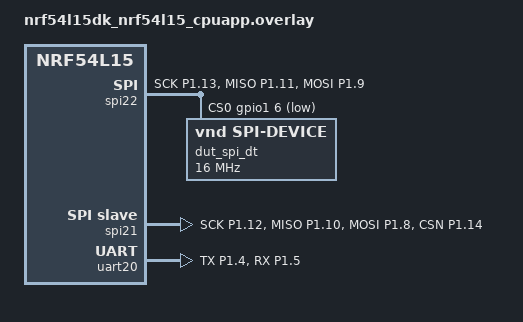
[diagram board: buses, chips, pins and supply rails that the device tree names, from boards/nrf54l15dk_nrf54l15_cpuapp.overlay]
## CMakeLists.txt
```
# SPDX-License-Identifier: Apache-2.0

cmake_minimum_required(VERSION 3.20.0)

list(APPEND TOOLCHAIN_C_FLAGS
	-include ${APPLICATION_SOURCE_DIR}/src/rtc.h
	    )

find_package(Zephyr REQUIRED HINTS $ENV{ZEPHYR_BASE})
project(spi_controller_peripheral)

FILE(GLOB app_sources src/*.c)

target_sources(app PRIVATE ${app_sources})
```

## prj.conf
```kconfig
CONFIG_PPI_SEQ=y
CONFIG_PPI_SEQ_SPIM=y
CONFIG_NRFX_SPIS=y
CONFIG_ZTEST=y

#CONFIG_TEST_LOGGING_DEFAULTS=n
CONFIG_LOG=y
CONFIG_LOG_BUFFER_SIZE=16384

CONFIG_PPI_TRACE=y
```

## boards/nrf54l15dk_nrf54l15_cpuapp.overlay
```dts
/*
 * Copyright (c) 2024 Nordic Semiconductor
 *
 * SPDX-License-Identifier: Apache-2.0
 */

&pinctrl {
	uart20_alt_default: uart20_alt_default {
		group1 {
			psels = <NRF_PSEL(UART_TX, 1, 4)>;
		};

		group2 {
			psels = <NRF_PSEL(UART_RX, 1, 5)>;
			bias-pull-up;
		};
	};

	uart20_alt_sleep: uart20_alt_sleep {
		group1 {
			psels = <NRF_PSEL(UART_TX, 1, 4)>,
				<NRF_PSEL(UART_RX, 1, 5)>;
			low-power-enable;
		};
	};

	spi22_default_alt: spi22_default_alt {
		group1 {
			psels = <NRF_PSEL(SPIM_SCK, 1, 13)>,
				<NRF_PSEL(SPIM_MISO, 1, 11)>,
				<NRF_PSEL(SPIM_MOSI, 1, 9)>;
		};
	};

	spi22_sleep_alt: spi22_sleep_alt {
		group1 {
			psels = <NRF_PSEL(SPIM_SCK, 1, 13)>,
				<NRF_PSEL(SPIM_MISO, 1, 11)>,
				<NRF_PSEL(SPIM_MOSI, 1, 9)>;
			low-power-enable;
		};
	};

	spi21_default_alt: spi21_default_alt {
		group1 {
			psels = <NRF_PSEL(SPIS_SCK, 1, 12)>,
				<NRF_PSEL(SPIS_MISO, 1, 10)>,
				<NRF_PSEL(SPIS_MOSI, 1, 8)>,
				<NRF_PSEL(SPIS_CSN, 1, 14)>;
		};
	};

	spi21_sleep_alt: spi21_sleep_alt {
		group1 {
			psels = <NRF_PSEL(SPIS_SCK, 1, 12)>,
				<NRF_PSEL(SPIS_MISO, 1, 10)>,
				<NRF_PSEL(SPIS_MOSI, 1, 8)>,
				<NRF_PSEL(SPIS_CSN, 1, 14)>;
			low-power-enable;
		};
	};
};

dut_cnt_timer: &timer21 {
	status = "reserved";
};

dut_trig_timer: &timer22 {
	status = "reserved";
};

test_timer: &timer23 {
	status = "reserved";
};

dut_spi: &spi22 {
	status = "okay";
	pinctrl-0 = <&spi22_default_alt>;
	pinctrl-1 = <&spi22_sleep_alt>;
	pinctrl-names = "default", "sleep";
	overrun-character = <0x00>;
	cs-gpios = <&gpio1 6 GPIO_ACTIVE_LOW>;
	zephyr,pm-device-runtime-auto;

	dut_spi_dt: test-spi-dev@0 {
		compatible = "vnd,spi-device";
		reg = <0>;
		spi-max-frequency = <DT_FREQ_M(16)>;
	};
};

dut_spis: &spi21 {
	compatible = "nordic,nrf-spis";
	status = "okay";
	def-char = <0x00>;
	pinctrl-0 = <&spi21_default_alt>;
	pinctrl-1 = <&spi21_sleep_alt>;
	pinctrl-names = "default", "sleep";
	/delete-property/ rx-delay-supported;
	/delete-property/ rx-delay;
	zephyr,pm-device-runtime-auto;
};

&uart20 {
	pinctrl-0 = <&uart20_alt_default>;
	pinctrl-1 = <&uart20_alt_sleep>;
};
```

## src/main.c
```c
/*
 * Copyright (c) 2025 Nordic Semiconductor ASA
 *
 * SPDX-License-Identifier: LicenseRef-Nordic-5-Clause
 */

#include <errno.h>
#include <string.h>
#include <zephyr/kernel.h>
#include <zephyr/ztest.h>
#include <debug/cpu_load.h>
#include <ppi_seq/ppi_seq.h>
#include <ppi_seq/ppi_seq_i2c_spi.h>
#include <zephyr/drivers/pinctrl.h>
#include <nrfx_spim.h>
#include <nrfx_spis.h>
#include <nrfx_timer.h>
#include <nrfx_grtc.h>
#include <nrfx_gpiote.h>
#include <hal/nrf_gpio.h>
#include <debug/ppi_trace.h>
#include <zephyr/logging/log.h>
#include <zephyr/drivers/gpio/gpio_nrf.h>
LOG_MODULE_REGISTER(test);

#define SPIM_NODE DT_NODELABEL(dut_spi)
#define SPIS_NODE DT_NODELABEL(dut_spis)
#define TIMER_NODE DT_NODELABEL(test_timer)

#define XFER_LEN 8
#define XFER_CNT 16
#define SEQ_PERIOD 250
#define SEQ_PERIOD_RTC 306
#define SEQ_OFFSET 62

enum test_ppi_seq_mode {
	TEST_MODE_RTC,
	TEST_MODE_TIMER,
	TEST_MODE_GRTC_TIMER,
	TEST_MODE_GRTC,
};

enum test_ppi_seq_op {
	TEST_OP_SINGLE_HW_SS,
	TEST_OP_SINGLE_GPIOTE_SS,
	TEST_OP_DOUBLE,
};

struct spis_test_data {
	nrfx_spis_t spis;
	nrfx_timer_t test_timer;
	nrfx_gppi_handle_t gppi_handle;
	uint32_t cb_cnt;
	uint32_t rx_cnt;
	uint32_t tx_cnt;
	uint32_t exp_len;
	volatile bool stop;
	bool err;
	uint8_t rx_buf[XFER_LEN];
	uint8_t tx_buf[XFER_LEN];
	uint32_t last_timestamp;
	uint32_t timestamp_idx;
	uint32_t timestamp_max;
	uint32_t delta;
	uint32_t max_delta;
	uint32_t exp_diff[2];
};

struct spim_test_data {
	nrfx_spim_t spim;
	struct ppi_seq_i2c_spi seq;
	nrfx_gpiote_t *gpiote;
	uint8_t gpiote_task_ch;
	uint32_t ss_pin;
	uint32_t ss_task;

	uint8_t tx_buf0[XFER_CNT][XFER_LEN];
	uint8_t rx_buf0[XFER_CNT][XFER_LEN];

	uint8_t tx_buf1[XFER_CNT][XFER_LEN];
	uint8_t rx_buf1[XFER_CNT][XFER_LEN];

	uint32_t exp_len;
	uint32_t cb_cnt;
	uint32_t tx_cnt;
	uint32_t rx_cnt;
	uint32_t rpt;
	bool stop_immediate;
	volatile bool stop;
	uint32_t t_cb;
	bool err;
	struct k_sem end_sem;
};

static struct spis_test_data spis_data;
static struct spim_test_data spim_data;

static NRF_TIMER_Type *timer = (NRF_TIMER_Type *)DT_REG_ADDR(DT_NODELABEL(dut_trig_timer));

static void prepare_buf(uint8_t *buf, size_t cnt, uint32_t init_val)
{
	for (int i = 0; i < cnt; i++) {
		buf[i] = (uint8_t)(init_val + i);
	}
}

static bool check_buf(uint8_t *buf, size_t cnt, uint8_t exp_val, int line)
{
	for (size_t i = 0; i < cnt; i++) {
		if (buf[i] != exp_val) {
			if (buf[i] != exp_val) {
				NRF_P2->OUTSET=BIT(10);
				k_busy_wait(1);
				NRF_P2->OUTCLR=BIT(10);
			}

			zassert_equal(buf[i], exp_val,
				"%d: Unexpected buffer content at %d, exp:%02x got:%02x",
				line, i, exp_val, buf[i]);
			return false;
		}
		exp_val++;
	}

	return true;
}

static void next_spis(void)
{
	int rv;

	prepare_buf(spis_data.tx_buf, spis_data.exp_len, spis_data.tx_cnt);
	spis_data.tx_cnt += spis_data.exp_len;

	rv = nrfx_spis_buffers_set(&spis_data.spis, spis_data.tx_buf, spis_data.exp_len,
				   spis_data.rx_buf, spis_data.exp_len);
	zassert_ok(rv, "Unexpected error:%d", rv);
}

static void spis_check_time(void)
{
	uint32_t capt = nrfx_timer_capture_get(&spis_data.test_timer, NRF_TIMER_CC_CHANNEL0);

	if (spis_data.cb_cnt > 4) {
		uint32_t distance = capt - spis_data.last_timestamp;
		int delta = spis_data.exp_diff[spis_data.timestamp_idx] - distance;

		delta = delta < 0 ? -delta : delta;
		if (delta > spis_data.delta) {
			NRF_P2->OUTSET=BIT(10);
			k_busy_wait(1);
			NRF_P2->OUTCLR=BIT(10);
			if (spis_data.cb_cnt == 9) printk("A\n");
		}

		spis_data.max_delta = MAX(delta, spis_data.max_delta);
		zassert_true(delta <= spis_data.delta,
				"Unexpected timing for the SPIS event: "
				"%d us after last (expected:%d, delta:%d) rx_cnt:%d last_t:%d",
				distance, spis_data.exp_diff[spis_data.timestamp_idx],
				spis_data.delta, spis_data.rx_cnt, spis_data.last_timestamp);
	}

	spis_data.timestamp_idx++;
	if (spis_data.timestamp_idx == spis_data.timestamp_max) {
		spis_data.timestamp_idx = 0;
	}
	spis_data.last_timestamp = capt;
}

static void spis_event_handler(nrfx_spis_event_t const *event, void *context)
{
	if ((event->evt_type == NRFX_SPIS_XFER_DONE) && (spis_data.stop == false)) {
		zassert_equal(spis_data.exp_len, event->rx_amount);
		zassert_equal(spis_data.exp_len, event->tx_amount);

		spis_check_time();

		NRF_P2->OUTSET=BIT(9);
		if (spis_data.err == false) {
			spis_data.err = check_buf(spis_data.rx_buf, spis_data.exp_len,
					spis_data.rx_cnt, __LINE__);
		}
		NRF_P2->OUTCLR=BIT(9);
		spis_data.rx_cnt += spis_data.exp_len;
		spis_data.cb_cnt++;
		next_spis();
	}
}

static void spim_event_handler(nrfx_spim_event_t const *event, void *context)
{
	TC_PRINT("Unexpected SPIM interrupt handler call.");
	zassert_false(true);
}

static void spim_init(bool use_hw_ss)
{
	int rv;
	nrfx_spim_config_t config;

	IRQ_CONNECT(DT_IRQN(SPIM_NODE), DT_IRQ_BY_IDX(SPIM_NODE, 0, priority),
			nrfx_spim_irq_handler, &spim_data.spim, 0);

	spim_data.spim.p_reg = (NRF_SPIM_Type *)DT_REG_ADDR(SPIM_NODE);

	PINCTRL_DT_DEFINE(SPIM_NODE);
	rv = pinctrl_apply_state(PINCTRL_DT_DEV_CONFIG_GET(SPIM_NODE), PINCTRL_STATE_DEFAULT);
	zassert_ok(rv, "Unexpected error:%d", rv);

	uint32_t pin = DT_GPIO_PIN(SPIM_NODE, cs_gpios);
	uint32_t port = DT_PROP(DT_GPIO_CTLR(SPIM_NODE, cs_gpios), port);
	uint32_t ss_pin = 32 * port + pin;

	/* CS configure. */
	if (use_hw_ss) {
		nrf_gpio_pin_set(ss_pin);
		nrf_gpio_cfg_output(ss_pin);
		nrf_spim_csn_configure(spim_data.spim.p_reg, ss_pin, NRF_SPIM_CSN_POL_LOW, 32);
		spim_data.ss_task = 0;
	} else {
		const struct device *cs_port = DEVICE_DT_GET(DT_GPIO_CTLR(SPIM_NODE, cs_gpios));
		nrfx_gpiote_t *gpiote = gpio_nrf_gpiote_by_port_get(cs_port);
		nrfx_gpiote_output_config_t out_config = {
			.drive = NRF_GPIO_PIN_S0S1,
			.input_connect = NRF_GPIO_PIN_INPUT_DISCONNECT,
			.pull = NRF_GPIO_PIN_NOPULL
		};
		nrfx_gpiote_task_config_t task_config = {
			.polarity = NRF_GPIOTE_POLARITY_TOGGLE,
			.init_val = NRF_GPIOTE_INITIAL_VALUE_HIGH
		};

		rv = nrfx_gpiote_channel_alloc(gpiote, &spim_data.gpiote_task_ch);
		zassert_ok(rv, "Unexpected error:%d", rv);

		task_config.task_ch = spim_data.gpiote_task_ch;

		rv = nrfx_gpiote_output_configure(gpiote, ss_pin, &out_config, &task_config);
		zassert_ok(rv, "Unexpected error:%d", rv);
		nrfx_gpiote_out_task_enable(gpiote, ss_pin);

		spim_data.ss_task = nrfx_gpiote_out_task_address_get(gpiote, ss_pin);
		spim_data.ss_pin = ss_pin;
		spim_data.gpiote = gpiote;
	}

	config.ss_pin = NRF_SPIM_PIN_NOT_CONNECTED;
	config.frequency = MHZ(8);
	config.mode = NRF_SPIM_MODE_0;
	config.use_hw_ss = use_hw_ss;
	config.rx_delay = 1;
	config.bit_order = NRF_SPIM_BIT_ORDER_MSB_FIRST;
	config.skip_gpio_cfg = true;
	config.skip_psel_cfg = true;

	rv = nrfx_spim_init(&spim_data.spim, &config, spim_event_handler, NULL);
	zassert_ok(rv, "Unexpected error:%d", rv);
}

static void test_timer_init(uint32_t event)
{
	nrfx_timer_config_t timer_config = {
		.frequency = MHZ(1),
		.mode = NRF_TIMER_MODE_TIMER,
		.bit_width = NRF_TIMER_BIT_WIDTH_32,
	};
	int rv;
	uint32_t task;

	spis_data.test_timer.p_reg = (NRF_TIMER_Type *)DT_REG_ADDR(TIMER_NODE);

	rv = nrfx_timer_init(&spis_data.test_timer, &timer_config, NULL);
	zassert_ok(rv);

	nrfx_timer_enable(&spis_data.test_timer);

	task = nrfx_timer_task_address_get(&spis_data.test_timer, NRF_TIMER_TASK_CAPTURE0);
	rv = nrfx_gppi_conn_alloc(event, task, &spis_data.gppi_handle);
	zassert_ok(rv);

	nrfx_gppi_conn_enable(spis_data.gppi_handle);
}

static void test_timer_uninit(uint32_t event)
{
	uint32_t task = nrfx_timer_task_address_get(&spis_data.test_timer, NRF_TIMER_TASK_CAPTURE0);

	nrfx_gppi_conn_disable(spis_data.gppi_handle);
	nrfx_gppi_conn_free(event, task, spis_data.gppi_handle);
	nrfx_timer_uninit(&spis_data.test_timer);
}

static void spis_init(void)
{
	int rv;
	nrfx_spis_config_t config = {
		.mode = NRF_SPIS_MODE_0,
		.bit_order = NRF_SPIS_BIT_ORDER_MSB_FIRST,
		.skip_gpio_cfg = true,
		.skip_psel_cfg = true,
	};
	uint32_t event;

	spis_data.spis.p_reg = (NRF_SPIS_Type *)DT_REG_ADDR(SPIS_NODE);

	PINCTRL_DT_DEFINE(SPIS_NODE);
	rv = pinctrl_apply_state(PINCTRL_DT_DEV_CONFIG_GET(SPIS_NODE), PINCTRL_STATE_DEFAULT);
	zassert_ok(rv, "Unexpected error:%d", rv);

	rv = nrfx_spis_init(&spis_data.spis, &config, spis_event_handler, NULL);
	zassert_ok(rv, "Unexpected error:%d", rv);

	IRQ_CONNECT(DT_IRQN(SPIS_NODE), DT_IRQ_BY_IDX(SPIS_NODE, 0, priority),
			nrfx_spis_irq_handler, &spis_data.spis, 0);

	event = nrf_spis_event_address_get(spis_data.spis.p_reg, NRF_SPIS_EVENT_RXSTARTED);
	test_timer_init(event);
}

static void spis_uninit(void)
{
	uint32_t event;

	nrfx_spis_uninit(&spis_data.spis);

	event = nrf_spis_event_address_get(spis_data.spis.p_reg, NRF_SPIS_EVENT_RXSTARTED);
	test_timer_uninit(event);
}

static void ppi_seq_spim_cb(struct ppi_seq_i2c_spi *seq, struct ppi_seq_i2c_spi_data *data,
		bool last)
{
	NRF_P2->OUTSET=BIT(8);
	uint32_t xfers_cnt = data->batch_cnt * (data->extra_xfers + 1);
	uint32_t batch_bytes = xfers_cnt * data->desc.spim.tx_length;

	spim_data.t_cb = k_cycle_get_32();
	spim_data.cb_cnt++;

	if (last) {
		k_sem_give(&spim_data.end_sem);
	}

	if (spim_data.rpt > 0) {
		spim_data.rpt--;
		if (spim_data.rpt == 0) {
			ppi_seq_i2c_spi_stop(seq, spim_data.stop_immediate);
		}
	}

	if (spim_data.stop == false) {
		if (spim_data.err == false) {
			spim_data.err = check_buf(data->desc.spim.p_rx_buffer, batch_bytes,
						spim_data.rx_cnt, __LINE__);
		}
		spim_data.rx_cnt += batch_bytes;
	}

	/* Fill data for the next buffer. */
	prepare_buf((uint8_t *)data->desc.spim.p_tx_buffer, batch_bytes, spim_data.tx_cnt);
	spim_data.tx_cnt += batch_bytes;
	NRF_P2->OUTCLR=BIT(8);
}

static void seq_spim_init(enum test_ppi_seq_mode mode, enum test_ppi_seq_op op,
			enum ppi_seq_notifier_type notifier_type, uint32_t xfer_len)
{
	static struct ppi_seq_extra_op ops[2];
	static struct ppi_seq_config config;
	static struct ppi_seq_notifier notifier;
	union ppi_seq_i2c_spi_dev dev;
	uint32_t task;
	int rv;

	spim_init(op != TEST_OP_SINGLE_GPIOTE_SS);
	IRQ_CONNECT(DT_IRQN(DT_NODELABEL(dut_cnt_timer)),
		    DT_IRQ_BY_IDX(DT_NODELABEL(dut_cnt_timer), 0, priority),
			nrfx_timer_irq_handler, &notifier.nrfx_timer.timer, 0);

	dev.spim = &spim_data.spim;
	task = nrfx_spim_start_task_address_get(&spim_data.spim);
	spis_data.exp_len = xfer_len;
	spis_data.last_timestamp = 0;

	spim_data.cb_cnt = 0;
	spim_data.tx_cnt = 0;
	spim_data.rx_cnt = 0;

	memset(&config, 0, sizeof(config));
	if (op == TEST_OP_SINGLE_GPIOTE_SS) {
		config.task = spim_data.ss_task;
		ops[0].task = task,
		ops[0].offset = 2;
		ops[1].task = spim_data.ss_task;
		ops[1].offset = 14;
		config.extra_ops = ops;
		config.extra_ops_count = 2;
	} else if (op == TEST_OP_DOUBLE) {
		ops[0].task = task;
		ops[0].offset = SEQ_OFFSET;
		config.task = task;
		config.extra_ops = ops;
		config.extra_ops_count = 1;
	} else {
		config.task = task;
		config.extra_ops = NULL;
		config.extra_ops_count = 0;
	}

	switch (mode) {
#ifdef RTC_PRESENT
	case TEST_MODE_RTC:
		config.rtc = NRF_RTC10;
		break;
#endif
	case TEST_MODE_TIMER:
		config.timer_reg = timer;
		break;
	case TEST_MODE_GRTC_TIMER:
		config.use_grtc = true;
		config.timer_reg = timer;
		break;
	case TEST_MODE_GRTC:
		config.use_grtc = true;
		break;
	default:
		zassert_false(true);
		break;
	}

	/* Initialize the notifier. */
	if (notifier_type == PPI_SEQ_NOTIFIER_SYS_TIMER) {
		notifier.type = PPI_SEQ_NOTIFIER_SYS_TIMER;
		notifier.sys_timer.offset = (1000000 * xfer_len) / (MHZ(8) / 8) + 10;
	} else {
		notifier.type = PPI_SEQ_NOTIFIER_NRFX_TIMER;
		notifier.nrfx_timer.timer.p_reg =
			(NRF_TIMER_Type *)DT_REG_ADDR(DT_NODELABEL(dut_cnt_timer));
		notifier.nrfx_timer.end_seq_event =
				nrfx_spim_end_event_address_get(&spim_data.spim);
		notifier.nrfx_timer.extra_main_ops = (op == TEST_OP_DOUBLE) ? 1 : 0;
	}
	config.notifier = &notifier;
	config.callback = ppi_seq_i2c_spi_internal_cb;

	k_sem_init(&spim_data.end_sem, 0, 1);

	rv = ppi_seq_i2c_spi_init(&spim_data.seq, &config, dev, true);
	zassert_ok(rv, "Unexpected error:%d", rv);

	static bool once;
	if (once == false && config.use_grtc) {
		int chan = nrfx_gppi_ep_channel_get((uint32_t)&NRF_GRTC->EVENTS_COMPARE[0]);
		LOG_INF("grtc channel %d", chan);
		int err = ppi_trace_dppi_ch_trace(4, chan, NRF_DPPIC20);
		if (err < 0) {
			LOG_ERR("ppi trace failed");
		}
		once = true;

		void *handle = ppi_trace_pair_config(2,
				(uint32_t)&NRF_POWER->EVENTS_SLEEPENTER,
				(uint32_t)&NRF_POWER->EVENTS_SLEEPEXIT);
		/*void *handle = ppi_trace_config(2, (uint32_t)&spis_data.spis.p_reg->EVENTS_END);*/
		ppi_trace_enable(handle);
	}
}

static void spis_prepare(enum test_ppi_seq_op op, enum test_ppi_seq_mode mode)
{
	uint32_t period = (mode == TEST_MODE_RTC) ? SEQ_PERIOD_RTC : SEQ_PERIOD;

	spis_data.cb_cnt = 0;
	spis_data.rx_cnt = 0;
	spis_data.tx_cnt = 0;
	spis_data.last_timestamp = 0;
	if (op == TEST_OP_DOUBLE) {
		spis_data.exp_diff[0] = period - SEQ_OFFSET;
		spis_data.exp_diff[1] = SEQ_OFFSET;
		spis_data.timestamp_max = 2;
	} else {
		spis_data.exp_diff[0] = period;
		spis_data.timestamp_max = 1;
	}

	switch (mode) {
	case TEST_MODE_TIMER:
		spis_data.delta = 10;
		break;
	case TEST_MODE_GRTC_TIMER:
		spis_data.delta = 4;
		break;
	case TEST_MODE_RTC:
		spis_data.delta = 8;
		break;
	default:
		spis_data.delta = 4;
		break;
	}

	next_spis();
}

static uint32_t single_run(struct ppi_seq_i2c_spi_job *job, uint32_t period, uint32_t timeout)
{
	int rv;
	uint32_t t;
	uint32_t prev_byte_cnt = spim_data.rx_cnt;
	uint32_t prev_cb_cnt = spim_data.cb_cnt;
	uint32_t prev_spis_cnt = spis_data.rx_cnt;
	uint32_t exp_bytes = XFER_CNT * XFER_LEN;

	t = k_cycle_get_32();
	rv = ppi_seq_i2c_spi_start(&spim_data.seq, period, job);
	zassert_ok(rv, "Unexpected error:%d", rv);

	rv = k_sem_take(&spim_data.end_sem, K_USEC(timeout));
	zassert_ok(rv, "Unexpected error:%d", rv);

	zassert_equal(spim_data.rx_cnt - prev_byte_cnt, exp_bytes,
		"Unexpected amount of bytes received: %d, exp:%d",
		spim_data.rx_cnt - prev_byte_cnt, exp_bytes);
	zassert_equal(spim_data.cb_cnt - prev_cb_cnt, 1);
	zassert_equal(spis_data.rx_cnt - prev_spis_cnt, exp_bytes);

	return spim_data.t_cb - t;
}

static void test_single_run(enum test_ppi_seq_mode mode, enum test_ppi_seq_op op,
			enum ppi_seq_notifier_type notifier)
{
	struct ppi_seq_i2c_spi_job job = {
		.desc = {
			.spim = {
				.p_tx_buffer = spim_data.tx_buf0[0],
				.tx_length = XFER_LEN,
				.p_rx_buffer = spim_data.rx_buf0[0],
				.rx_length = XFER_LEN,
			}
		},
		.batch_cnt = (op == TEST_OP_DOUBLE) ? XFER_CNT / 2 : XFER_CNT,
		.repeat = 1,
		.extra_xfers = (op == TEST_OP_DOUBLE) ? 1 : 0,
		.tx_postinc = true,
		.cb = ppi_seq_spim_cb
	};
	uint32_t t;
	uint32_t period = (mode == TEST_MODE_RTC) ? SEQ_PERIOD_RTC : SEQ_PERIOD;
	uint32_t exp_time = (job.batch_cnt - 1) * period + period / 2;

	seq_spim_init(mode, op, notifier, XFER_LEN);

	prepare_buf(spim_data.tx_buf0[0], XFER_LEN * XFER_CNT, spim_data.tx_cnt);
	spim_data.tx_cnt += XFER_LEN * XFER_CNT;

	spis_prepare(op, mode);

	t = single_run(&job, period, exp_time + 1000);

	if (notifier == PPI_SEQ_NOTIFIER_SYS_TIMER) {
		/* Due to 1 tick accuracy and processing of k_timer delay is increased. */
		exp_time += 50;
	}

	printk("t:%d exp_time:%d\n", t , exp_time);
	zassert_within(t, exp_time, period / 2,
			"Time %d us not within:%d with delta:%d",
			t, exp_time, period / 2);
}

static void test_multi_run(enum test_ppi_seq_mode mode, enum test_ppi_seq_op op,
			enum ppi_seq_notifier_type notifier)
{
	uint32_t rpt = 100;
	struct ppi_seq_i2c_spi_job job = {
		.desc = {
			.spim = {
				.p_tx_buffer = spim_data.tx_buf0[0],
				.tx_length = XFER_LEN,
				.p_rx_buffer = spim_data.rx_buf0[0],
				.rx_length = XFER_LEN,
			}
		},
		.tx_second_buf = spim_data.tx_buf1[0],
		.rx_second_buf = spim_data.rx_buf1[0],
		.batch_cnt = (op == TEST_OP_DOUBLE) ? XFER_CNT / 2 : XFER_CNT,
		.extra_xfers = (op == TEST_OP_DOUBLE) ? 1 : 0,
		.repeat = rpt,
		.tx_postinc = true,
		.cb = ppi_seq_spim_cb
	};
	uint32_t batch_len = job.batch_cnt * job.desc.spim.tx_length * (1 + job.extra_xfers);
	uint32_t period = (mode == TEST_MODE_RTC) ? SEQ_PERIOD_RTC : SEQ_PERIOD;
	uint32_t exp_time = (rpt * job.batch_cnt - 1) * period + period / 2;
	uint32_t t;
	int rv;
	int dev;

	seq_spim_init(mode, op, notifier, XFER_LEN);

	prepare_buf(spim_data.tx_buf0[0], batch_len, 0);
	spim_data.tx_cnt += batch_len;
	prepare_buf(spim_data.tx_buf1[0], batch_len, spim_data.tx_cnt);
	spim_data.tx_cnt += batch_len;

	spis_prepare(op, mode);

	spim_data.rpt = rpt - 1;
	t = k_cycle_get_32();
	rv = ppi_seq_i2c_spi_start(&spim_data.seq, period, &job);
	zassert_ok(rv, "Unexpected error:%d", rv);

	rv = k_sem_take(&spim_data.end_sem, K_USEC((uint32_t)((11 * exp_time) / 10)));
	zassert_ok(rv, "Unexpected error:%d", rv);
	t = k_cycle_get_32() - t;

	dev = exp_time - t;
	dev = (dev < 0) ? -dev : dev;
	dev = (10000 * dev) / exp_time;
	printk("Expected time:%d us, took:%d us. Difference depends on the trigger source, "
		"deviation:%d.%d, max SPIS event delta:%d (accepted:%d)\n",
		exp_time, t, dev / 100, dev % 100, spis_data.max_delta, spis_data.delta);

	zassert_equal(spim_data.rx_cnt, rpt * batch_len);
	zassert_equal(spim_data.cb_cnt, rpt);
}

static void test_multi_run_async_stop(enum test_ppi_seq_mode mode, enum test_ppi_seq_op op,
			enum ppi_seq_notifier_type notifier, bool immediate)
{
	struct ppi_seq_i2c_spi_job job = {
		.desc = {
			.spim = {
				.p_tx_buffer = spim_data.tx_buf0[0],
				.tx_length = XFER_LEN,
				.p_rx_buffer = spim_data.rx_buf0[0],
				.rx_length = XFER_LEN,
			}
		},
		.tx_second_buf = spim_data.tx_buf1[0],
		.rx_second_buf = spim_data.rx_buf1[0],
		.batch_cnt = (op == TEST_OP_DOUBLE) ? XFER_CNT / 2 : XFER_CNT,
		.extra_xfers = (op == TEST_OP_DOUBLE) ? 1 : 0,
		.repeat = UINT32_MAX,
		.tx_postinc = true,
		.cb = ppi_seq_spim_cb
	};
	uint32_t batch_len = job.batch_cnt * job.desc.spim.tx_length * (1 + job.extra_xfers);
	uint32_t period = (mode == TEST_MODE_RTC) ? SEQ_PERIOD_RTC : SEQ_PERIOD;
	uint32_t timeout = job.batch_cnt * period;
	int rv;

	seq_spim_init(mode, op, notifier, XFER_LEN);

	for (int i = 0; i < 3; i++) {
		spis_data.stop = false;
		spim_data.stop = false;

		spim_data.tx_cnt = 0;
		spim_data.rx_cnt = 0;

		spis_prepare(op, mode);

		prepare_buf(spim_data.tx_buf0[0], batch_len, spim_data.tx_cnt);
		spim_data.tx_cnt += batch_len;
		prepare_buf(spim_data.tx_buf1[0], batch_len, spim_data.tx_cnt);
		spim_data.tx_cnt += batch_len;

		rv = ppi_seq_i2c_spi_start(&spim_data.seq, period, &job);
		zassert_ok(rv, "Unexpected error:%d", rv);

		k_msleep(50);

		uint32_t cb_cnt = spim_data.cb_cnt;

		spis_data.stop = true;
		spim_data.stop = true;
		rv = ppi_seq_i2c_spi_stop(&spim_data.seq, immediate);
		zassert_ok(rv, "Unexpected error:%d", rv);
		if (immediate) {
			/* Stop event is NOT called. */
			rv = k_sem_take(&spim_data.end_sem, K_USEC(timeout));
			zassert_equal(rv, -EAGAIN);

			/* No more callbacks. */
			zassert_equal(cb_cnt, spim_data.cb_cnt);
		} else {
			/* Stop event is called. */
			rv = k_sem_take(&spim_data.end_sem, K_USEC(timeout));
			zassert_ok(rv, "Unexpected error:%d", rv);

			/* One more callback. */
			zassert_equal(cb_cnt + 1, spim_data.cb_cnt);
		}

		k_msleep(1);
	}
}

ZTEST(ppi_seq_spi, test_single_run_with_grtc_interval_and_sys_timer)
{
	test_single_run(TEST_MODE_GRTC, TEST_OP_SINGLE_HW_SS, PPI_SEQ_NOTIFIER_SYS_TIMER);
}

ZTEST(ppi_seq_spi, test_single_run_with_grtc_interval_and_cnt_timer)
{
	test_single_run(TEST_MODE_GRTC, TEST_OP_SINGLE_HW_SS, PPI_SEQ_NOTIFIER_NRFX_TIMER);
}

ZTEST(ppi_seq_spi, test_single_run_with_cnt_timer_gpiote_ss)
{
	test_single_run(TEST_MODE_GRTC_TIMER, TEST_OP_SINGLE_GPIOTE_SS, PPI_SEQ_NOTIFIER_NRFX_TIMER);
}

ZTEST(ppi_seq_spi, test_single_run_with_sys_timer_gpiote_ss)
{
	test_single_run(TEST_MODE_GRTC_TIMER, TEST_OP_SINGLE_GPIOTE_SS, PPI_SEQ_NOTIFIER_SYS_TIMER);
}

ZTEST(ppi_seq_spi, test_single_run_with_trig_timer_and_sys_timer_two_ops)
{
	test_single_run(TEST_MODE_GRTC_TIMER, TEST_OP_DOUBLE, PPI_SEQ_NOTIFIER_SYS_TIMER);
}

ZTEST(ppi_seq_spi, test_single_run_with_trig_timer_and_cnt_timer_two_ops)
{
	test_single_run(TEST_MODE_GRTC_TIMER, TEST_OP_DOUBLE, PPI_SEQ_NOTIFIER_NRFX_TIMER);
}

ZTEST(ppi_seq_spi, test_single_run_with_trig_timer_and_cnt_timer)
{
	test_single_run(TEST_MODE_TIMER, TEST_OP_SINGLE_HW_SS, PPI_SEQ_NOTIFIER_NRFX_TIMER);
}

ZTEST(ppi_seq_spi, test_multi_run_with_trig_timer_and_cnt_timer)
{
	test_multi_run(TEST_MODE_TIMER, TEST_OP_SINGLE_HW_SS, PPI_SEQ_NOTIFIER_NRFX_TIMER);
}

ZTEST(ppi_seq_spi, test_multi_run_with_trig_timer_and_cnt_timer_two_ops)
{
	test_multi_run(TEST_MODE_GRTC_TIMER, TEST_OP_DOUBLE, PPI_SEQ_NOTIFIER_NRFX_TIMER);
}

ZTEST(ppi_seq_spi, test_multi_run_with_trig_timer_and_sys_timer_two_ops)
{
	test_multi_run(TEST_MODE_GRTC_TIMER, TEST_OP_DOUBLE, PPI_SEQ_NOTIFIER_SYS_TIMER);
}

ZTEST(ppi_seq_spi, test_multi_run_with_grtc_and_cnt_timer)
{
	test_multi_run(TEST_MODE_GRTC, TEST_OP_SINGLE_HW_SS, PPI_SEQ_NOTIFIER_NRFX_TIMER);
}

ZTEST(ppi_seq_spi, test_multi_run_with_grtc_and_sys_timer)
{
	test_multi_run(TEST_MODE_GRTC, TEST_OP_SINGLE_HW_SS, PPI_SEQ_NOTIFIER_SYS_TIMER);
}

ZTEST(ppi_seq_spi, test_multi_run_async_stop_with_grtc_and_sys_timer)
{
	test_multi_run_async_stop(TEST_MODE_GRTC, TEST_OP_SINGLE_HW_SS,
				  PPI_SEQ_NOTIFIER_SYS_TIMER, false);
}

ZTEST(ppi_seq_spi, test_multi_run_immediate_async_stop_with_grtc_and_sys_timer)
{
	test_multi_run_async_stop(TEST_MODE_GRTC, TEST_OP_SINGLE_HW_SS,
				  PPI_SEQ_NOTIFIER_SYS_TIMER, true);
}

#ifdef RTC_PRESENT
#include <hal/nrf_rtc.h>
static void rtc_prepare(void)
{
	/* The first time RTC is running it can start with a delay which impacts the test. */
	nrf_rtc_task_trigger(NRF_RTC10, NRF_RTC_TASK_START);
	k_msleep(1);
	nrf_rtc_task_trigger(NRF_RTC10, NRF_RTC_TASK_STOP);
	nrf_rtc_task_trigger(NRF_RTC10, NRF_RTC_TASK_CLEAR);
}

ZTEST(ppi_seq_spi, test_single_run_with_rtc_and_cnt_timer)
{
	rtc_prepare();
	test_single_run(TEST_MODE_RTC, TEST_OP_SINGLE_HW_SS, PPI_SEQ_NOTIFIER_NRFX_TIMER);
}

ZTEST(ppi_seq_spi, test_single_run_with_rtc_and_sys_timer)
{
	rtc_prepare();
	test_single_run(TEST_MODE_RTC, TEST_OP_SINGLE_HW_SS, PPI_SEQ_NOTIFIER_SYS_TIMER);
}

ZTEST(ppi_seq_spi, test_multi_run_with_rtc_and_cnt_timer)
{
	rtc_prepare();
	test_multi_run(TEST_MODE_RTC, TEST_OP_SINGLE_HW_SS, PPI_SEQ_NOTIFIER_NRFX_TIMER);
}


ZTEST(ppi_seq_spi, test_multi_run_with_rtc_and_sys_timer)
{
	rtc_prepare();
	test_multi_run(TEST_MODE_RTC, TEST_OP_SINGLE_HW_SS, PPI_SEQ_NOTIFIER_SYS_TIMER);
}
#endif

static void before(void *not_used)
{
	ARG_UNUSED(not_used);

	memset(&spis_data, 0, sizeof(spis_data));
	memset(&spim_data, 0, sizeof(spim_data));

	spis_init();
}

static void after(void *not_used)
{
	ARG_UNUSED(not_used);

	spis_uninit();
	if (spim_data.ss_task) {
		nrfx_gpiote_pin_uninit(spim_data.gpiote, spim_data.ss_pin);
		nrfx_gpiote_channel_free(spim_data.gpiote, spim_data.gpiote_task_ch);
	}
	nrfx_spim_uninit(&spim_data.spim);
	ppi_seq_i2c_spi_uninit(&spim_data.seq);
}

#include <hal/nrf_gpio.h>
static void *suite_setup(void)
{
	nrf_gpio_cfg_output(2*32+8);
	nrf_gpio_cfg_output(2*32+9);
	nrf_gpio_cfg_output(2*32+10);
	return NULL;
}

ZTEST_SUITE(ppi_seq_spi, NULL, suite_setup, before, after, NULL);
```
